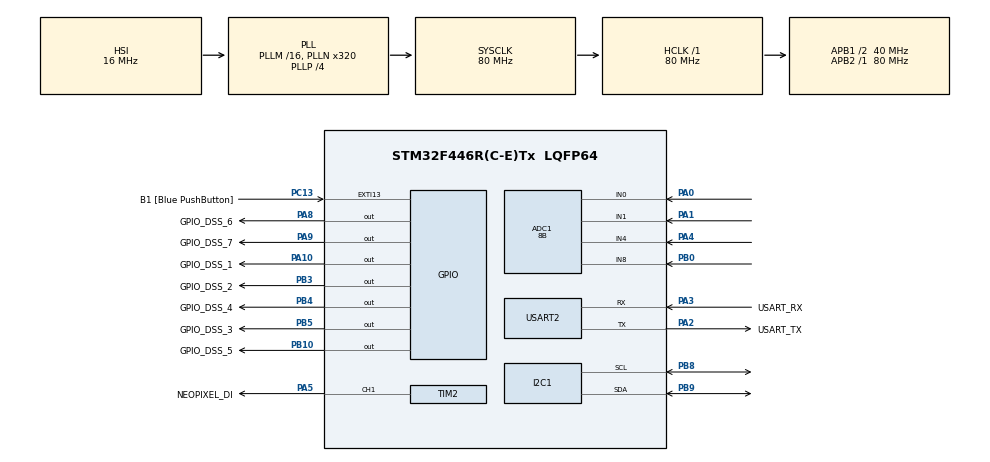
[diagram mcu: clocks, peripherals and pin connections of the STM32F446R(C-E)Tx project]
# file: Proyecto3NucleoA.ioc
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ADC1.Channel-0\#ChannelRegularConversion=ADC_CHANNEL_0
ADC1.Channel-1\#ChannelRegularConversion=ADC_CHANNEL_1
ADC1.Channel-2\#ChannelRegularConversion=ADC_CHANNEL_4
ADC1.Channel-3\#ChannelRegularConversion=ADC_CHANNEL_8
ADC1.ContinuousConvMode=DISABLE
ADC1.DMAContinuousRequests=ENABLE
ADC1.DiscontinuousConvMode=DISABLE
ADC1.NbrOfConversion=4
ADC1.NbrOfConversionFlag=1
ADC1.Rank-0\#ChannelRegularConversion=1
ADC1.Rank-1\#ChannelRegularConversion=2
ADC1.Rank-2\#ChannelRegularConversion=3
ADC1.Rank-3\#ChannelRegularConversion=4
ADC1.Resolution=ADC_RESOLUTION_8B
ADC1.SamplingTime-0\#ChannelRegularConversion=ADC_SAMPLETIME_3CYCLES
ADC1.SamplingTime-1\#ChannelRegularConversion=ADC_SAMPLETIME_3CYCLES
ADC1.SamplingTime-2\#ChannelRegularConversion=ADC_SAMPLETIME_3CYCLES
ADC1.SamplingTime-3\#ChannelRegularConversion=ADC_SAMPLETIME_3CYCLES
ADC1.ScanConvMode=ENABLE
ADC1.master=1
Dma.ADC1.0.Direction=DMA_PERIPH_TO_MEMORY
Dma.ADC1.0.FIFOMode=DMA_FIFOMODE_DISABLE
Dma.ADC1.0.Instance=DMA2_Stream0
Dma.ADC1.0.MemDataAlignment=DMA_MDATAALIGN_BYTE
Dma.ADC1.0.MemInc=DMA_MINC_ENABLE
Dma.ADC1.0.Mode=DMA_CIRCULAR
Dma.ADC1.0.PeriphDataAlignment=DMA_PDATAALIGN_BYTE
Dma.ADC1.0.PeriphInc=DMA_PINC_DISABLE
Dma.ADC1.0.Priority=DMA_PRIORITY_LOW
Dma.Request0=ADC1
Dma.Request1=TIM2_CH1
Dma.TIM2_CH1.1.Direction=DMA_MEMORY_TO_PERIPH
Dma.TIM2_CH1.1.FIFOMode=DMA_FIFOMODE_DISABLE
Dma.TIM2_CH1.1.Instance=DMA1_Stream5
Dma.TIM2_CH1.1.MemDataAlignment=DMA_MDATAALIGN_WORD
Dma.TIM2_CH1.1.MemInc=DMA_MINC_ENABLE
Dma.TIM2_CH1.1.Mode=DMA_NORMAL
Dma.TIM2_CH1.1.PeriphDataAlignment=DMA_PDATAALIGN_WORD
Dma.TIM2_CH1.1.PeriphInc=DMA_PINC_DISABLE
Dma.TIM2_CH1.1.Priority=DMA_PRIORITY_LOW
I2C1.GeneralCallMode=I2C_GENERALCALL_DISABLE
I2C1.I2C_Mode=I2C_Standard
I2C1.OwnAddress=32
Mcu.Family=STM32F4
Mcu.Name=STM32F446R(C-E)Tx
Mcu.Package=LQFP64
NVIC.DMA1_Stream5_IRQn=true\:0\:0\:false\:false\:true\:false\:true\:true
NVIC.DMA2_Stream0_IRQn=true\:0\:0\:false\:false\:true\:false\:true\:true
NVIC.EXTI15_10_IRQn=true\:0\:0\:false\:false\:true\:true\:true\:true
NVIC.I2C1_ER_IRQn=true\:0\:0\:false\:false\:true\:true\:true\:true
NVIC.I2C1_EV_IRQn=true\:0\:0\:false\:false\:true\:true\:true\:true
NVIC.PriorityGroup=NVIC_PRIORITYGROUP_0
PA0-WKUP.Signal=ADCx_IN0
PA1.Signal=ADCx_IN1
PA10.GPIO_Label=GPIO_DSS_1
PA10.Signal=GPIO_Output
PA13.GPIO_Label=TMS
PA13.Mode=Serial_Wire
PA13.Signal=SYS_JTMS-SWDIO
PA14.GPIO_Label=TCK
PA14.Mode=Serial_Wire
PA14.Signal=SYS_JTCK-SWCLK
PA2.GPIO_Label=USART_TX
PA2.Mode=Asynchronous
PA2.Signal=USART2_TX
PA3.GPIO_Label=USART_RX
PA3.Mode=Asynchronous
PA3.Signal=USART2_RX
PA4.Signal=ADCx_IN4
PA5.GPIO_Label=NEOPIXEL_DI
PA5.Signal=S_TIM2_CH1_ETR
PA8.GPIO_Label=GPIO_DSS_6
PA8.Signal=GPIO_Output
PA9.GPIO_Label=GPIO_DSS_7
PA9.Signal=GPIO_Output
PB0.Signal=ADCx_IN8
PB10.GPIO_Label=GPIO_DSS_5
PB10.Signal=GPIO_Output
PB3.GPIO_Label=GPIO_DSS_2
PB3.Signal=GPIO_Output
PB4.GPIO_Label=GPIO_DSS_4
PB4.Signal=GPIO_Output
PB5.GPIO_Label=GPIO_DSS_3
PB5.Signal=GPIO_Output
PB8.GPIO_Pu=GPIO_PULLUP
PB8.Mode=I2C
PB8.Signal=I2C1_SCL
PB9.GPIO_Pu=GPIO_PULLUP
PB9.Mode=I2C
PB9.Signal=I2C1_SDA
PC13.GPIO_Label=B1 [Blue PushButton]
PC13.GPIO_ModeDefaultEXTI=GPIO_MODE_IT_FALLING
PC13.Signal=GPXTI13
PC14-OSC32_IN.Mode=LSE-External-Oscillator
PC14-OSC32_IN.Signal=RCC_OSC32_IN
PC15-OSC32_OUT.Mode=LSE-External-Oscillator
PC15-OSC32_OUT.Signal=RCC_OSC32_OUT
PH0-OSC_IN.Mode=HSE-External-Oscillator
PH0-OSC_IN.Signal=RCC_OSC_IN
PH1-OSC_OUT.Mode=HSE-External-Oscillator
PH1-OSC_OUT.Signal=RCC_OSC_OUT
ProjectManager.HeapSize=0x200
ProjectManager.StackSize=0x400
ProjectManager.TargetToolchain=STM32CubeIDE
RCC.48MHZClocksFreq_Value=84000000
RCC.AHBFreq_Value=80000000
RCC.APB1CLKDivider=RCC_HCLK_DIV2
RCC.APB1Freq_Value=40000000
RCC.APB1TimFreq_Value=80000000
RCC.APB2Freq_Value=80000000
RCC.APB2TimFreq_Value=80000000
RCC.CortexFreq_Value=80000000
RCC.FLatency-AdvancedSettings=FLASH_LATENCY_2
RCC.HCLKFreq_Value=80000000
RCC.HSE_VALUE=8000000
RCC.HSI_VALUE=16000000
RCC.PLLN=320
RCC.PLLP=RCC_PLLP_DIV4
RCC.SYSCLKFreq_VALUE=80000000
RCC.SYSCLKSource=RCC_SYSCLKSOURCE_PLLCLK
RCC.USBFreq_Value=160000000
RCC.VCOOutputFreq_Value=320000000
SH.ADCx_IN0.0=ADC1_IN0,IN0
SH.ADCx_IN1.0=ADC1_IN1,IN1
SH.ADCx_IN4.0=ADC1_IN4,IN4
SH.ADCx_IN8.0=ADC1_IN8,IN8
SH.S_TIM2_CH1_ETR.0=TIM2_CH1,PWM Generation1 CH1
TIM2.AutoReloadPreload=TIM_AUTORELOAD_PRELOAD_DISABLE
TIM2.Channel-PWM\ Generation1\ CH1=TIM_CHANNEL_1
TIM2.Period=100-1
USART2.VirtualMode=VM_ASYNC
VP_TIM2_VS_ClockSourceINT.Mode=Internal
board=NUCLEO-F446RE

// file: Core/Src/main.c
/* USER CODE BEGIN Header */
/**
  ******************************************************************************
  * @file           : main.c
  * @brief          : Main program body
  ******************************************************************************
  * @attention
  *
  * Copyright (c) 2026 STMicroelectronics.
  * All rights reserved.
  *
  * This software is licensed under terms that can be found in the LICENSE file
  * in the root directory of this software component.
  * If no LICENSE file comes with this software, it is provided AS-IS.
  *
  ******************************************************************************
  */
/* USER CODE END Header */
#include "main.h"

/* USER CODE BEGIN Includes */
#include "SevenSegmentLib.h"
/* USER CODE END Includes */

/* USER CODE BEGIN PD */
// Valores lógicos para PWM
#define TIM_ARR_VAL 100 // Tu período total es 100

// Valores calibrados (Prueba con estos)
#define PWM_HI (68)  // ~0.85 uS en alto (Aumenta el margen del 1 lógico)
#define PWM_LO (30)  // ~0.37 uS en alto (Asegura el 0 lógico)

// Umbral de sensores
#define THRESHOLD 80

// Número de Neopixeles por tira
#define MAX_LED 4

D7S mi_display;
/* USER CODE END PD */

ADC_HandleTypeDef hadc1;
DMA_HandleTypeDef hdma_adc1;

I2C_HandleTypeDef hi2c1;

TIM_HandleTypeDef htim2;
DMA_HandleTypeDef hdma_tim2_ch1;

UART_HandleTypeDef huart2;

/* USER CODE BEGIN PV */

// VARIABLES PARA I2C
// Variable para representar el estado del parqueo
// 0x00 (0b00000000) -> No hay carros estacionados
// 0x01 (0b00000001) -> Carro detectado en S1
// 0x02 (0b00000010) -> Carro detectado en S2
// 0x04 (0b00000100) -> Carro detectado en S3
// 0x08 (0b00001000) -> Carro detectado en S4
uint8_t state = 0; // Esta variable se transmite al ESP32 por el protocolo I2C.
uint8_t i2c_busy = 0;

// VARIABLES PARA NEOPIXEL
TIM_HandleTypeDef *pwm_timer;
uint32_t pwm_channel;
uint8_t LED_Data[MAX_LED][3];
uint32_t pwmData[(24 * MAX_LED) + 300];

// VARIABLES PARA ADC
uint8_t adc_data[4];

/* USER CODE END PV */

void SystemClock_Config(void);
static void MX_GPIO_Init(void);
static void MX_DMA_Init(void);
static void MX_USART2_UART_Init(void);
static void MX_I2C1_Init(void);
static void MX_TIM2_Init(void);
static void MX_ADC1_Init(void);

/* USER CODE BEGIN 0 */

void NeoPixel_Init(TIM_HandleTypeDef *htim, uint32_t channel) {
    pwm_timer = htim;
    pwm_channel = channel;
}

void NeoPixel_SetColor(uint8_t led_index, uint8_t r, uint8_t g, uint8_t b) {
    if(led_index < MAX_LED) {
        LED_Data[led_index][0] = g; // Orden GRB de los WS2812B
        LED_Data[led_index][1] = r;
        LED_Data[led_index][2] = b;
    }
}

void NeoPixel_Show(void) {
    uint32_t indx = 0;
    uint32_t color;

    for (int i = 0; i < MAX_LED; i++) {
        color = ((LED_Data[i][0] << 16) | (LED_Data[i][1] << 8) | (LED_Data[i][2]));

        for (int j = 23; j >= 0; j--) {
            if (color & (1 << j)) {
                pwmData[indx] = PWM_HI;  // ~64% alto (Lógico 1)
            } else {
                pwmData[indx] = PWM_LO;  // ~32% alto (Lógico 0)
            }
            indx++;
        }
    }

    for (int i = 0; i < 300; i++) {
        pwmData[indx] = 0; // Señal de RESET
        indx++;
    }

    HAL_TIM_PWM_Start_DMA(pwm_timer, pwm_channel, (uint32_t *)pwmData, indx);
}

// Función para enviar un número siempre con 3 caracteres (000-255)
void UART_SendInt8_Fixed(uint8_t num) {
    char buffer[4];
    buffer[0] = (num / 100) + '0';       // Centenas
    buffer[1] = ((num / 10) % 10) + '0'; // Decenas
    buffer[2] = (num % 10) + '0';        // Unidades
    buffer[3] = '\0';
    HAL_UART_Transmit(&huart2, (uint8_t *)buffer, 3, 100);
}

void UART_SendString(const char *str) {
    uint16_t len = 0;
    while (str[len] != '\0') len++;
    HAL_UART_Transmit(&huart2, (uint8_t *)str, len, 100);
}

// Función para enviar los 4 bits de estado como "0000"
void UART_SendBinary4Bit(uint8_t state) {
    char bin_str[5]; // 4 bits + terminador
    // Revisamos cada bit (del 3 al 0)
    bin_str[0] = (state & 0x08) ? '1' : '0'; // S4
    bin_str[1] = (state & 0x04) ? '1' : '0'; // S3
    bin_str[2] = (state & 0x02) ? '1' : '0'; // S2
    bin_str[3] = (state & 0x01) ? '1' : '0'; // S1
    bin_str[4] = '\0';
    HAL_UART_Transmit(&huart2, (uint8_t *)bin_str, 4, 100);
}

/* USER CODE END 0 */

int main(void)
{

  /* MCU Configuration--------------------------------------------------------*/

  /* Reset of all peripherals, Initializes the Flash interface and the Systick. */
  HAL_Init();

  /* Configure the system clock */
  SystemClock_Config();

  /* Initialize all configured peripherals */
  MX_GPIO_Init();
  MX_DMA_Init();
  MX_USART2_UART_Init();
  MX_I2C1_Init();
  MX_TIM2_Init();
  MX_ADC1_Init();
  /* USER CODE BEGIN 2 */
  HAL_ADC_Start_DMA(&hadc1, (uint32_t *)adc_data, 4);

  // Inicializa los NeoPixels usando el Timer 2, Canal 1
  NeoPixel_Init(&htim2, TIM_CHANNEL_1);

  // =================================================================
    // MAPEO CALIBRADO: Secuencia Física (e - g - a - d - f - c - b)
    // =================================================================
    mi_display.port_a = GPIO_DSS_4_GPIO_Port; mi_display.pin_a = GPIO_DSS_4_Pin; // Paso 3 fue A
    mi_display.port_b = GPIO_DSS_2_GPIO_Port; mi_display.pin_b = GPIO_DSS_2_Pin; // Paso 7 fue B
    mi_display.port_c = GPIO_DSS_6_GPIO_Port; mi_display.pin_c = GPIO_DSS_6_Pin; // Paso 6 fue C
    mi_display.port_d = GPIO_DSS_5_GPIO_Port; mi_display.pin_d = GPIO_DSS_5_Pin; // Paso 4 fue D
    mi_display.port_e = GPIO_DSS_7_GPIO_Port; mi_display.pin_e = GPIO_DSS_7_Pin; // Paso 1 fue E
    mi_display.port_f = GPIO_DSS_3_GPIO_Port; mi_display.pin_f = GPIO_DSS_3_Pin; // Paso 5 fue F
    mi_display.port_g = GPIO_DSS_1_GPIO_Port; mi_display.pin_g = GPIO_DSS_1_Pin; // Paso 2 fue G
    // =================================================================
  //Display_TestSequence(&mi_display);

  // Apagar el display al inicio por precaución
  DisplayOff(&mi_display);

  HAL_I2C_EnableListen_IT(&hi2c1);
  /* USER CODE END 2 */

  /* Infinite loop */
  /* USER CODE BEGIN WHILE */
  while (1)
  {
	// 1. Actualizar ADC
	HAL_ADC_Start_DMA(&hadc1, (uint32_t *)adc_data, 4);
	HAL_Delay(5); // Tiempo para que el DMA trabaje

	// 2. Lógica de umbrales para I2C y Visualización
	state = 0;
	if(adc_data[0] > THRESHOLD) state |= 0x01; // S1
	if(adc_data[1] > THRESHOLD) state |= 0x02; // S2
	if(adc_data[2] > THRESHOLD) state |= 0x04; // S3
	if(adc_data[3] > THRESHOLD) state |= 0x08; // S4

	// === NUEVA LÓGICA PARA ACTUALIZAR LOS NEOPIXELS ===

	uint8_t espacios_ocupados = 0; // Variable para contar los carros

	for (int i = 0; i < MAX_LED; i++) {
		// Evaluamos si el bit 'i' de 'state' está encendido (1 = Ocupado)
		if (state & (1 << i)) {
			// Parqueo Libre -> Color Rojo (R=255, G=0, B=0)
			NeoPixel_SetColor(i, 0, 255, 0);
		} else {
			// Parqueo Ocupado -> Color Rojo (R=0, G=255, B=0)
			espacios_ocupados += 1;
			NeoPixel_SetColor(i, 255, 0, 0);
		}
	}

	// Detener el PWM antes de actualizar evita que el DMA lea datos corruptos
	HAL_TIM_PWM_Stop_DMA(pwm_timer, pwm_channel);
	NeoPixel_Show();

	// === LÓGICA DEL DISPLAY 7 SEGMENTOS ===
	uint8_t parqueos_disponibles = MAX_LED - espacios_ocupados;
	DisplayNumber(&mi_display, parqueos_disponibles);
	// ==================================================

	// 3. Preparar I2C para el Maestro (Modo Esclavo IT)
//	static uint32_t last_i2c_attempt = 0;
//
//	if (i2c_busy == 1) {
//	    if ((HAL_GetTick() - last_i2c_attempt) > 1000) { // Si pasan más de 1 segundo
//	        // ¡BUS BLOQUEADO! Resetear
//	        HAL_I2C_Abort_IT(&hi2c1);
//	        i2c_busy = 0;
//	    }
//	} else {
//	    // Si no está ocupado, intentamos transmitir
//	    i2c_busy = 1;
//	    last_i2c_attempt = HAL_GetTick();
//	    HAL_I2C_Slave_Transmit_IT(&hi2c1, &state, 1);
//	}

	// 4. Transmisión de la Tabla por UART
	UART_SendString("| CH0: ");
	UART_SendInt8_Fixed(adc_data[0]);
	UART_SendString(" | CH1: ");
	UART_SendInt8_Fixed(adc_data[1]);
	UART_SendString(" | CH2: ");
	UART_SendInt8_Fixed(adc_data[2]);
	UART_SendString(" | CH3: ");
	UART_SendInt8_Fixed(adc_data[3]);

	// Nueva Columna: Sensores (Binario)
	UART_SendString(" | SENSORS: ");
	UART_SendBinary4Bit(state);

	// Columna: Estado (Hexadecimal)
	UART_SendString(" | HEX: 0x");
	char hex_buf[3];
	const char *hex_map = "0123456789ABCDEF";
	hex_buf[0] = hex_map[(state >> 4) & 0x0F];
	hex_buf[1] = hex_map[state & 0x0F];
	hex_buf[2] = '\0';
	UART_SendString(hex_buf);

	UART_SendString(" |\r\n");

	HAL_Delay(200);
    /* USER CODE END WHILE */

  }
}

void SystemClock_Config(void)
{
  RCC_OscInitTypeDef RCC_OscInitStruct = {0};
  RCC_ClkInitTypeDef RCC_ClkInitStruct = {0};

  /** Configure the main internal regulator output voltage
  */
  __HAL_RCC_PWR_CLK_ENABLE();
  __HAL_PWR_VOLTAGESCALING_CONFIG(PWR_REGULATOR_VOLTAGE_SCALE3);

  /** Initializes the RCC Oscillators according to the specified parameters
  * in the RCC_OscInitTypeDef structure.
  */
  RCC_OscInitStruct.OscillatorType = RCC_OSCILLATORTYPE_HSI;
  RCC_OscInitStruct.HSIState = RCC_HSI_ON;
  RCC_OscInitStruct.HSICalibrationValue = RCC_HSICALIBRATION_DEFAULT;
  RCC_OscInitStruct.PLL.PLLState = RCC_PLL_ON;
  RCC_OscInitStruct.PLL.PLLSource = RCC_PLLSOURCE_HSI;
  RCC_OscInitStruct.PLL.PLLM = 16;
  RCC_OscInitStruct.PLL.PLLN = 320;
  RCC_OscInitStruct.PLL.PLLP = RCC_PLLP_DIV4;
  RCC_OscInitStruct.PLL.PLLQ = 2;
  RCC_OscInitStruct.PLL.PLLR = 2;
  if (HAL_RCC_OscConfig(&RCC_OscInitStruct) != HAL_OK)
  {
    Error_Handler();
  }

  /** Initializes the CPU, AHB and APB buses clocks
  */
  RCC_ClkInitStruct.ClockType = RCC_CLOCKTYPE_HCLK|RCC_CLOCKTYPE_SYSCLK
                              |RCC_CLOCKTYPE_PCLK1|RCC_CLOCKTYPE_PCLK2;
  RCC_ClkInitStruct.SYSCLKSource = RCC_SYSCLKSOURCE_PLLCLK;
  RCC_ClkInitStruct.AHBCLKDivider = RCC_SYSCLK_DIV1;
  RCC_ClkInitStruct.APB1CLKDivider = RCC_HCLK_DIV2;
  RCC_ClkInitStruct.APB2CLKDivider = RCC_HCLK_DIV1;

  if (HAL_RCC_ClockConfig(&RCC_ClkInitStruct, FLASH_LATENCY_2) != HAL_OK)
  {
    Error_Handler();
  }
}

static void MX_ADC1_Init(void)
{

  ADC_ChannelConfTypeDef sConfig = {0};

  /** Configure the global features of the ADC (Clock, Resolution, Data Alignment and number of conversion)
  */
  hadc1.Instance = ADC1;
  hadc1.Init.ClockPrescaler = ADC_CLOCK_SYNC_PCLK_DIV4;
  hadc1.Init.Resolution = ADC_RESOLUTION_8B;
  hadc1.Init.ScanConvMode = ENABLE;
  hadc1.Init.ContinuousConvMode = DISABLE;
  hadc1.Init.DiscontinuousConvMode = DISABLE;
  hadc1.Init.ExternalTrigConvEdge = ADC_EXTERNALTRIGCONVEDGE_NONE;
  hadc1.Init.ExternalTrigConv = ADC_SOFTWARE_START;
  hadc1.Init.DataAlign = ADC_DATAALIGN_RIGHT;
  hadc1.Init.NbrOfConversion = 4;
  hadc1.Init.DMAContinuousRequests = ENABLE;
  hadc1.Init.EOCSelection = ADC_EOC_SINGLE_CONV;
  if (HAL_ADC_Init(&hadc1) != HAL_OK)
  {
    Error_Handler();
  }

  /** Configure for the selected ADC regular channel its corresponding rank in the sequencer and its sample time.
  */
  sConfig.Channel = ADC_CHANNEL_0;
  sConfig.Rank = 1;
  sConfig.SamplingTime = ADC_SAMPLETIME_3CYCLES;
  if (HAL_ADC_ConfigChannel(&hadc1, &sConfig) != HAL_OK)
  {
    Error_Handler();
  }

  /** Configure for the selected ADC regular channel its corresponding rank in the sequencer and its sample time.
  */
  sConfig.Channel = ADC_CHANNEL_1;
  sConfig.Rank = 2;
  if (HAL_ADC_ConfigChannel(&hadc1, &sConfig) != HAL_OK)
  {
    Error_Handler();
  }

  /** Configure for the selected ADC regular channel its corresponding rank in the sequencer and its sample time.
  */
  sConfig.Channel = ADC_CHANNEL_4;
  sConfig.Rank = 3;
  if (HAL_ADC_ConfigChannel(&hadc1, &sConfig) != HAL_OK)
  {
    Error_Handler();
  }

  /** Configure for the selected ADC regular channel its corresponding rank in the sequencer and its sample time.
  */
  sConfig.Channel = ADC_CHANNEL_8;
  sConfig.Rank = 4;
  if (HAL_ADC_ConfigChannel(&hadc1, &sConfig) != HAL_OK)
  {
    Error_Handler();
  }

}

static void MX_I2C1_Init(void)
{

  hi2c1.Instance = I2C1;
  hi2c1.Init.ClockSpeed = 100000;
  hi2c1.Init.DutyCycle = I2C_DUTYCYCLE_2;
  hi2c1.Init.OwnAddress1 = 64;
  hi2c1.Init.AddressingMode = I2C_ADDRESSINGMODE_7BIT;
  hi2c1.Init.DualAddressMode = I2C_DUALADDRESS_DISABLE;
  hi2c1.Init.OwnAddress2 = 0;
  hi2c1.Init.GeneralCallMode = I2C_GENERALCALL_DISABLE;
  hi2c1.Init.NoStretchMode = I2C_NOSTRETCH_DISABLE;
  if (HAL_I2C_Init(&hi2c1) != HAL_OK)
  {
    Error_Handler();
  }

}

static void MX_TIM2_Init(void)
{

  TIM_ClockConfigTypeDef sClockSourceConfig = {0};
  TIM_MasterConfigTypeDef sMasterConfig = {0};
  TIM_OC_InitTypeDef sConfigOC = {0};

  htim2.Instance = TIM2;
  htim2.Init.Prescaler = 0;
  htim2.Init.CounterMode = TIM_COUNTERMODE_UP;
  htim2.Init.Period = 100-1;
  htim2.Init.ClockDivision = TIM_CLOCKDIVISION_DIV1;
  htim2.Init.AutoReloadPreload = TIM_AUTORELOAD_PRELOAD_DISABLE;
  if (HAL_TIM_Base_Init(&htim2) != HAL_OK)
  {
    Error_Handler();
  }
  sClockSourceConfig.ClockSource = TIM_CLOCKSOURCE_INTERNAL;
  if (HAL_TIM_ConfigClockSource(&htim2, &sClockSourceConfig) != HAL_OK)
  {
    Error_Handler();
  }
  if (HAL_TIM_PWM_Init(&htim2) != HAL_OK)
  {
    Error_Handler();
  }
  sMasterConfig.MasterOutputTrigger = TIM_TRGO_RESET;
  sMasterConfig.MasterSlaveMode = TIM_MASTERSLAVEMODE_DISABLE;
  if (HAL_TIMEx_MasterConfigSynchronization(&htim2, &sMasterConfig) != HAL_OK)
  {
    Error_Handler();
  }
  sConfigOC.OCMode = TIM_OCMODE_PWM1;
  sConfigOC.Pulse = 0;
  sConfigOC.OCPolarity = TIM_OCPOLARITY_HIGH;
  sConfigOC.OCFastMode = TIM_OCFAST_DISABLE;
  if (HAL_TIM_PWM_ConfigChannel(&htim2, &sConfigOC, TIM_CHANNEL_1) != HAL_OK)
  {
    Error_Handler();
  }
  HAL_TIM_MspPostInit(&htim2);

}

static void MX_USART2_UART_Init(void)
{

  huart2.Instance = USART2;
  huart2.Init.BaudRate = 115200;
  huart2.Init.WordLength = UART_WORDLENGTH_8B;
  huart2.Init.StopBits = UART_STOPBITS_1;
  huart2.Init.Parity = UART_PARITY_NONE;
  huart2.Init.Mode = UART_MODE_TX_RX;
  huart2.Init.HwFlowCtl = UART_HWCONTROL_NONE;
  huart2.Init.OverSampling = UART_OVERSAMPLING_16;
  if (HAL_UART_Init(&huart2) != HAL_OK)
  {
    Error_Handler();
  }

}

static void MX_DMA_Init(void)
{

  /* DMA controller clock enable */
  __HAL_RCC_DMA2_CLK_ENABLE();
  __HAL_RCC_DMA1_CLK_ENABLE();

  /* DMA interrupt init */
  /* DMA1_Stream5_IRQn interrupt configuration */
  HAL_NVIC_SetPriority(DMA1_Stream5_IRQn, 0, 0);
  HAL_NVIC_EnableIRQ(DMA1_Stream5_IRQn);
  /* DMA2_Stream0_IRQn interrupt configuration */
  HAL_NVIC_SetPriority(DMA2_Stream0_IRQn, 0, 0);
  HAL_NVIC_EnableIRQ(DMA2_Stream0_IRQn);

}

static void MX_GPIO_Init(void)
{
  GPIO_InitTypeDef GPIO_InitStruct = {0};

  /* GPIO Ports Clock Enable */
  __HAL_RCC_GPIOC_CLK_ENABLE();
  __HAL_RCC_GPIOH_CLK_ENABLE();
  __HAL_RCC_GPIOA_CLK_ENABLE();
  __HAL_RCC_GPIOB_CLK_ENABLE();

  /*Configure GPIO pin Output Level */
  HAL_GPIO_WritePin(GPIOB, GPIO_DSS_5_Pin|GPIO_DSS_2_Pin|GPIO_DSS_4_Pin|GPIO_DSS_3_Pin, GPIO_PIN_RESET);

  /*Configure GPIO pin Output Level */
  HAL_GPIO_WritePin(GPIOA, GPIO_DSS_6_Pin|GPIO_DSS_7_Pin|GPIO_DSS_1_Pin, GPIO_PIN_RESET);

  /*Configure GPIO pin : B1_Pin */
  GPIO_InitStruct.Pin = B1_Pin;
  GPIO_InitStruct.Mode = GPIO_MODE_IT_FALLING;
  GPIO_InitStruct.Pull = GPIO_NOPULL;
  HAL_GPIO_Init(B1_GPIO_Port, &GPIO_InitStruct);

  /*Configure GPIO pins : GPIO_DSS_5_Pin GPIO_DSS_2_Pin GPIO_DSS_4_Pin GPIO_DSS_3_Pin */
  GPIO_InitStruct.Pin = GPIO_DSS_5_Pin|GPIO_DSS_2_Pin|GPIO_DSS_4_Pin|GPIO_DSS_3_Pin;
  GPIO_InitStruct.Mode = GPIO_MODE_OUTPUT_PP;
  GPIO_InitStruct.Pull = GPIO_NOPULL;
  GPIO_InitStruct.Speed = GPIO_SPEED_FREQ_LOW;
  HAL_GPIO_Init(GPIOB, &GPIO_InitStruct);

  /*Configure GPIO pins : GPIO_DSS_6_Pin GPIO_DSS_7_Pin GPIO_DSS_1_Pin */
  GPIO_InitStruct.Pin = GPIO_DSS_6_Pin|GPIO_DSS_7_Pin|GPIO_DSS_1_Pin;
  GPIO_InitStruct.Mode = GPIO_MODE_OUTPUT_PP;
  GPIO_InitStruct.Pull = GPIO_NOPULL;
  GPIO_InitStruct.Speed = GPIO_SPEED_FREQ_LOW;
  HAL_GPIO_Init(GPIOA, &GPIO_InitStruct);

  /* EXTI interrupt init*/
  HAL_NVIC_SetPriority(EXTI15_10_IRQn, 0, 0);
  HAL_NVIC_EnableIRQ(EXTI15_10_IRQn);

}

/* USER CODE BEGIN 4 */
// 1. Este Callback se activa cuando el ESP32 (o el escáner) hace Match con la dirección de la STM32
void HAL_I2C_AddrCallback(I2C_HandleTypeDef *hi2c, uint8_t TransferDirection, uint16_t AddrMatchCode)
{
    if (hi2c->Instance == I2C1)
    {
        // Si el Maestro quiere LEER (el escáner o el ESP32 pidiendo datos)
        if (TransferDirection == I2C_DIRECTION_TRANSMIT)
        {
            // Le respondemos enviando de forma secuencial nuestra variable 'state'
            HAL_I2C_Slave_Sequential_Transmit_IT(hi2c, &state, 1, I2C_LAST_FRAME);
        }
        else
        {
            // Si el Maestro quisiera ESCRIBIRLE a la STM32 (no es tu caso actual, pero se deja listo)
            // Aquí se usaría HAL_I2C_Slave_Sequential_Receive_IT
        }
    }
}

// 2. Este Callback se activa cuando la transmisión de datos hacia el maestro termina con éxito
void HAL_I2C_SlaveTxCpltCallback(I2C_HandleTypeDef *hi2c) {
    // Transmisión completada con éxito
}

// 3. ¡EL MÁS IMPORTANTE! Se activa cuando el maestro manda un STOP y termina la comunicación completa
void HAL_I2C_ListenCpltCallback(I2C_HandleTypeDef *hi2c) {
    if (hi2c->Instance == I2C1) {
        // Volvemos a activar la escucha para la siguiente petición o el siguiente escaneo
        HAL_I2C_EnableListen_IT(hi2c);
    }
}

// 4. Este Callback atrapa los errores (como el NACK que provoca el escáner al no leer datos)
void HAL_I2C_ErrorCallback(I2C_HandleTypeDef *hi2c) {
    if (hi2c->Instance == I2C1) {
        // Si el error fue simplemente un NACK (Acknowledge Failure), es normal con los escáneres
        if (HAL_I2C_GetError(hi2c) == HAL_I2C_ERROR_AF) {
            // Manejo silencioso del NACK
        } else {
            // Si es un error grave del bus, reiniciamos el periférico por seguridad
            HAL_I2C_DeInit(hi2c);
            HAL_I2C_Init(hi2c);
        }

        // Sin importar el error, volvemos a levantar las orejas del I2C para escuchar
        HAL_I2C_EnableListen_IT(hi2c);
    }
}
/* USER CODE END 4 */

void Error_Handler(void)
{
  __disable_irq();
  while (1)
  {
  }
}
